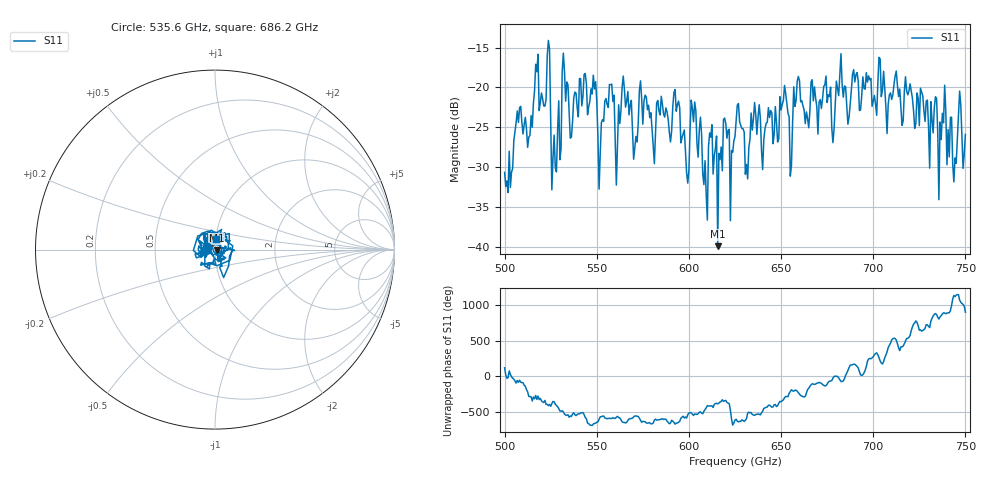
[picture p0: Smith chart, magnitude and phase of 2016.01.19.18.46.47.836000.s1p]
!Created with skrf (http://scikit-rf.org).
# GHz S RI R 50.0
!freq ReS11 ImS11
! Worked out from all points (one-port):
!   401 points, 500 GHz to 750 GHz, reference 50 ohm
!   lowest |S11| = -40.0 dB at 615.6 GHz (marker M1), VSWR 1.02, Z = 50.9 - j0.479 ohm
!   |S11| at or under -10 dB: start of sweep to end of sweep
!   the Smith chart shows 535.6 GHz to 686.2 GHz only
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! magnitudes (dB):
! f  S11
! 500 GHz  -30.7
! 507.5 GHz  -24.4
! 513.8 GHz  -26.0
! 516.9 GHz  -17.1
! 523.8 GHz  -14.1
! 526.9 GHz  -26.0
! 531.2 GHz  -18.0
! 548.1 GHz  -18.5
! 551.9 GHz  -28.4
! 556.9 GHz  -19.6
! 562.5 GHz  -24.6
! 570.6 GHz  -27.6
! 593.8 GHz  -22.2
! 598.8 GHz  -30.8
! 602.5 GHz  -24.3
! 608.8 GHz  -29.2
! 611.9 GHz  -26.3
! 615.6 GHz  -40.0
! 625 GHz  -26.2
! 631.9 GHz  -31.5
! 635 GHz  -23.9
! 640.6 GHz  -26.6
! 651.9 GHz  -19.8
! 656.2 GHz  -24.4
! 659.4 GHz  -18.6
! 687.5 GHz  -22.1
! 718.8 GHz  -20.9
! 750 GHz  -25.9
